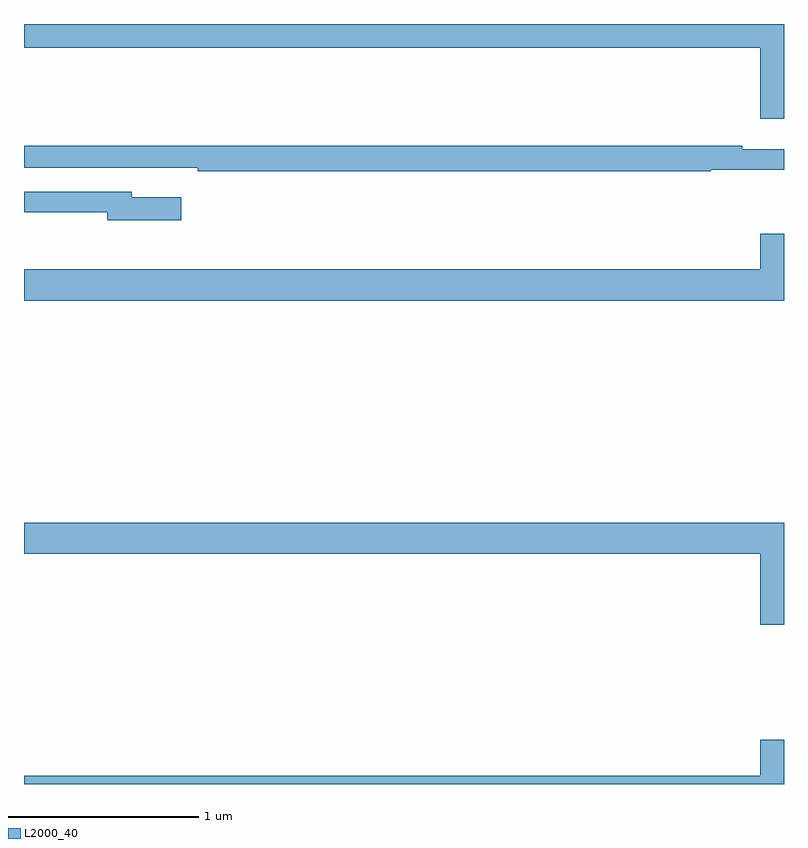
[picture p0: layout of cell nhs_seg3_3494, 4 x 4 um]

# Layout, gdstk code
import gdstk
lib = gdstk.Library(unit=1e-6, precision=1e-09)
def P(c, l, *ps):  # polygons
    for p in ps: c.add(gdstk.Polygon(p, *l))
L2000_40 = (2000, 40)

nhs_seg3_3494 = lib.new_cell('nhs_seg3_3494')
P(nhs_seg3_3494, L2000_40, [(297,674.4),(293,674.4),(293,674.276),(296.876,674.276),(296.876,673.902),(297,673.902)],
  [(296.614,673.632),(297,673.632),(297,673.741),(296.78,673.741),(296.78,673.76),(293,673.76),(293,673.644),(293.662,673.644),(293.662,673.643),(293.914,673.643),(293.914,673.624),(296.614,673.624)],
  [(293.827,673.489),(293.566,673.489),(293.566,673.518),(293,673.518),(293,673.41),(293.438,673.41),(293.438,673.367),(293.827,673.367)],
  [(297,673.297),(296.876,673.297),(296.876,673.108),(293,673.108),(293,672.944),(297,672.944)],
  [(297,671.776),(293,671.776),(293,671.612),(296.876,671.612),(296.876,671.238),(297,671.238)],
  [(297,670.633),(296.876,670.633),(296.876,670.444),(293,670.444),(293,670.4),(297,670.4)])

lib.write_gds('nhs_seg3_3494.gds')
